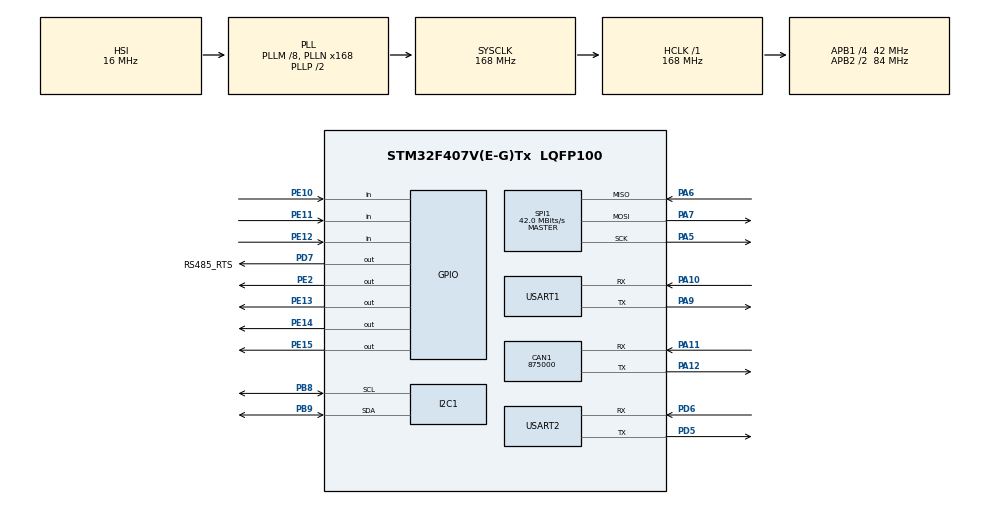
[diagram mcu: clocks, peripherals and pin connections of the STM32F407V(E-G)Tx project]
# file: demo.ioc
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CAN1.CalculateBaudRate=875000
CAN1.CalculateTimeBit=1142
CAN1.CalculateTimeQuantum=380.95238095238096
Dma.Request0=USART2_RX
Dma.Request1=USART2_TX
Dma.Request2=USART1_RX
Dma.Request3=USART1_TX
Dma.USART1_RX.2.Direction=DMA_PERIPH_TO_MEMORY
Dma.USART1_RX.2.FIFOMode=DMA_FIFOMODE_DISABLE
Dma.USART1_RX.2.Instance=DMA2_Stream2
Dma.USART1_RX.2.MemDataAlignment=DMA_MDATAALIGN_BYTE
Dma.USART1_RX.2.MemInc=DMA_MINC_ENABLE
Dma.USART1_RX.2.Mode=DMA_CIRCULAR
Dma.USART1_RX.2.PeriphDataAlignment=DMA_PDATAALIGN_BYTE
Dma.USART1_RX.2.PeriphInc=DMA_PINC_DISABLE
Dma.USART1_RX.2.Priority=DMA_PRIORITY_LOW
Dma.USART1_TX.3.Direction=DMA_MEMORY_TO_PERIPH
Dma.USART1_TX.3.FIFOMode=DMA_FIFOMODE_DISABLE
Dma.USART1_TX.3.Instance=DMA2_Stream7
Dma.USART1_TX.3.MemDataAlignment=DMA_MDATAALIGN_BYTE
Dma.USART1_TX.3.MemInc=DMA_MINC_ENABLE
Dma.USART1_TX.3.Mode=DMA_NORMAL
Dma.USART1_TX.3.PeriphDataAlignment=DMA_PDATAALIGN_BYTE
Dma.USART1_TX.3.PeriphInc=DMA_PINC_DISABLE
Dma.USART1_TX.3.Priority=DMA_PRIORITY_LOW
Dma.USART2_RX.0.Direction=DMA_PERIPH_TO_MEMORY
Dma.USART2_RX.0.FIFOMode=DMA_FIFOMODE_DISABLE
Dma.USART2_RX.0.Instance=DMA1_Stream5
Dma.USART2_RX.0.MemDataAlignment=DMA_MDATAALIGN_BYTE
Dma.USART2_RX.0.MemInc=DMA_MINC_ENABLE
Dma.USART2_RX.0.Mode=DMA_CIRCULAR
Dma.USART2_RX.0.PeriphDataAlignment=DMA_PDATAALIGN_BYTE
Dma.USART2_RX.0.PeriphInc=DMA_PINC_DISABLE
Dma.USART2_RX.0.Priority=DMA_PRIORITY_LOW
Dma.USART2_TX.1.Direction=DMA_MEMORY_TO_PERIPH
Dma.USART2_TX.1.FIFOMode=DMA_FIFOMODE_DISABLE
Dma.USART2_TX.1.Instance=DMA1_Stream6
Dma.USART2_TX.1.MemDataAlignment=DMA_MDATAALIGN_BYTE
Dma.USART2_TX.1.MemInc=DMA_MINC_ENABLE
Dma.USART2_TX.1.Mode=DMA_NORMAL
Dma.USART2_TX.1.PeriphDataAlignment=DMA_PDATAALIGN_BYTE
Dma.USART2_TX.1.PeriphInc=DMA_PINC_DISABLE
Dma.USART2_TX.1.Priority=DMA_PRIORITY_LOW
Mcu.Family=STM32F4
Mcu.Name=STM32F407V(E-G)Tx
Mcu.Package=LQFP100
NVIC.DMA1_Stream5_IRQn=true\:0\:0\:false\:false\:true\:false\:true\:true
NVIC.DMA1_Stream6_IRQn=true\:0\:0\:false\:false\:true\:false\:true\:true
NVIC.DMA2_Stream2_IRQn=true\:0\:0\:false\:false\:true\:false\:true\:true
NVIC.DMA2_Stream7_IRQn=true\:0\:0\:false\:false\:true\:false\:true\:true
NVIC.PriorityGroup=NVIC_PRIORITYGROUP_4
NVIC.TIM1_TRG_COM_TIM11_IRQn=true\:0\:0\:false\:false\:true\:true\:true\:true
NVIC.USART1_IRQn=true\:0\:0\:false\:false\:true\:true\:true\:true
NVIC.USART2_IRQn=true\:0\:0\:false\:false\:true\:true\:true\:true
PA10.Mode=Asynchronous
PA10.Signal=USART1_RX
PA11.Mode=CAN_Activate
PA11.Signal=CAN1_RX
PA12.Mode=CAN_Activate
PA12.Signal=CAN1_TX
PA13.Mode=Serial_Wire
PA13.Signal=SYS_JTMS-SWDIO
PA14.Mode=Serial_Wire
PA14.Signal=SYS_JTCK-SWCLK
PA5.Mode=Full_Duplex_Master
PA5.Signal=SPI1_SCK
PA6.Mode=Full_Duplex_Master
PA6.Signal=SPI1_MISO
PA7.Mode=Full_Duplex_Master
PA7.Signal=SPI1_MOSI
PA9.Mode=Asynchronous
PA9.Signal=USART1_TX
PB8.GPIO_Pu=GPIO_PULLUP
PB8.Mode=I2C
PB8.Signal=I2C1_SCL
PB9.GPIO_Pu=GPIO_PULLUP
PB9.Mode=I2C
PB9.Signal=I2C1_SDA
PD5.Mode=Asynchronous
PD5.Signal=USART2_TX
PD6.Mode=Asynchronous
PD6.Signal=USART2_RX
PD7.GPIO_Label=RS485_RTS
PD7.GPIO_Speed=GPIO_SPEED_FREQ_HIGH
PD7.PinState=GPIO_PIN_SET
PD7.Signal=GPIO_Output
PE10.Signal=GPIO_Input
PE11.Signal=GPIO_Input
PE12.Signal=GPIO_Input
PE13.Signal=GPIO_Output
PE14.Signal=GPIO_Output
PE15.Signal=GPIO_Output
PE2.Signal=GPIO_Output
PH0-OSC_IN.Mode=HSE-External-Oscillator
PH0-OSC_IN.Signal=RCC_OSC_IN
PH1-OSC_OUT.Mode=HSE-External-Oscillator
PH1-OSC_OUT.Signal=RCC_OSC_OUT
ProjectManager.HeapSize=0x2000
ProjectManager.StackSize=0x2000
ProjectManager.TargetToolchain=MDK-ARM V5
RCC.48MHZClocksFreq_Value=84000000
RCC.AHBFreq_Value=168000000
RCC.APB1CLKDivider=RCC_HCLK_DIV4
RCC.APB1Freq_Value=42000000
RCC.APB1TimFreq_Value=84000000
RCC.APB2CLKDivider=RCC_HCLK_DIV2
RCC.APB2Freq_Value=84000000
RCC.APB2TimFreq_Value=168000000
RCC.CortexFreq_Value=168000000
RCC.HCLKFreq_Value=168000000
RCC.HSE_VALUE=25000000
RCC.HSI_VALUE=16000000
RCC.LSE_VALUE=32768
RCC.PLLM=8
RCC.PLLN=168
RCC.SYSCLKFreq_VALUE=168000000
RCC.SYSCLKSource=RCC_SYSCLKSOURCE_PLLCLK
RCC.VCOOutputFreq_Value=336000000
SPI1.CalculateBaudRate=42.0 MBits/s
SPI1.Direction=SPI_DIRECTION_2LINES
SPI1.Mode=SPI_MODE_MASTER
SPI1.VirtualType=VM_MASTER
TIM11.AutoReloadPreload=TIM_AUTORELOAD_PRELOAD_ENABLE
TIM11.Period=14000-1
TIM11.Prescaler=12-1
USART1.VirtualMode=VM_ASYNC
USART2.VirtualMode=VM_ASYNC
VP_TIM11_VS_ClockSourceINT.Mode=Enable_Timer
board=custom

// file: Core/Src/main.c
/* USER CODE BEGIN Header */
/**
 ******************************************************************************
 * @file           : main.c
 * @brief          : Main program body
 ******************************************************************************
 * @attention
 *
 * Copyright (c) 2023 STMicroelectronics.
 * All rights reserved.
 *
 * This software is licensed under terms that can be found in the LICENSE file
 * in the root directory of this software component.
 * If no LICENSE file comes with this software, it is provided AS-IS.
 *
 ******************************************************************************
 */
/* USER CODE END Header */
#include "main.h"

CAN_HandleTypeDef hcan1;

I2C_HandleTypeDef hi2c1;

SPI_HandleTypeDef hspi1;

TIM_HandleTypeDef htim11;

UART_HandleTypeDef huart1;
UART_HandleTypeDef huart2;
DMA_HandleTypeDef hdma_usart1_rx;
DMA_HandleTypeDef hdma_usart1_tx;
DMA_HandleTypeDef hdma_usart2_rx;
DMA_HandleTypeDef hdma_usart2_tx;

/* USER CODE BEGIN PV */
static uint16_t a = 0, b = 0;
/* USER CODE END PV */

void SystemClock_Config(void);
static void MX_GPIO_Init(void);
static void MX_DMA_Init(void);
static void MX_TIM11_Init(void);
static void MX_CAN1_Init(void);
static void MX_I2C1_Init(void);
static void MX_USART1_UART_Init(void);
static void MX_USART2_UART_Init(void);
static void MX_SPI1_Init(void);
/* USER CODE BEGIN PFP */
void HAL_TIM_PeriodElapsedCallback(TIM_HandleTypeDef* htim)
{
}
/* USER CODE END PFP */

int main(void)
{

  /* MCU Configuration--------------------------------------------------------*/

  /* Reset of all peripherals, Initializes the Flash interface and the Systick. */
  HAL_Init();

  /* Configure the system clock */
  SystemClock_Config();

  /* USER CODE BEGIN SysInit */
    __HAL_RCC_GPIOA_CLK_ENABLE();
    __HAL_RCC_GPIOB_CLK_ENABLE();
    __HAL_RCC_GPIOC_CLK_ENABLE();
    __HAL_RCC_GPIOD_CLK_ENABLE();
    __HAL_RCC_GPIOE_CLK_ENABLE();
  /* USER CODE END SysInit */

  /* Initialize all configured peripherals */
  MX_GPIO_Init();
  MX_DMA_Init();
  MX_TIM11_Init();
  MX_CAN1_Init();
  MX_I2C1_Init();
  MX_USART1_UART_Init();
  MX_USART2_UART_Init();
  MX_SPI1_Init();

  /* Infinite loop */
  /* USER CODE BEGIN WHILE */

#if !FMSTR_DISABLE
    FMSTR_Init();
#endif

    while (1)
    {
#if !FMSTR_DISABLE
        FMSTR_Poll();
        FMSTR_Recorder();
#endif

        a += 2;
        b += 1;

    /* USER CODE END WHILE */

    }
}

void SystemClock_Config(void)
{
  RCC_OscInitTypeDef RCC_OscInitStruct = {0};
  RCC_ClkInitTypeDef RCC_ClkInitStruct = {0};

  /** Configure the main internal regulator output voltage
  */
  __HAL_RCC_PWR_CLK_ENABLE();
  __HAL_PWR_VOLTAGESCALING_CONFIG(PWR_REGULATOR_VOLTAGE_SCALE1);

  /** Initializes the RCC Oscillators according to the specified parameters
  * in the RCC_OscInitTypeDef structure.
  */
  RCC_OscInitStruct.OscillatorType = RCC_OSCILLATORTYPE_HSI;
  RCC_OscInitStruct.HSIState = RCC_HSI_ON;
  RCC_OscInitStruct.HSICalibrationValue = RCC_HSICALIBRATION_DEFAULT;
  RCC_OscInitStruct.PLL.PLLState = RCC_PLL_ON;
  RCC_OscInitStruct.PLL.PLLSource = RCC_PLLSOURCE_HSI;
  RCC_OscInitStruct.PLL.PLLM = 8;
  RCC_OscInitStruct.PLL.PLLN = 168;
  RCC_OscInitStruct.PLL.PLLP = RCC_PLLP_DIV2;
  RCC_OscInitStruct.PLL.PLLQ = 4;
  if (HAL_RCC_OscConfig(&RCC_OscInitStruct) != HAL_OK)
  {
    Error_Handler();
  }

  /** Initializes the CPU, AHB and APB buses clocks
  */
  RCC_ClkInitStruct.ClockType = RCC_CLOCKTYPE_HCLK|RCC_CLOCKTYPE_SYSCLK
                              |RCC_CLOCKTYPE_PCLK1|RCC_CLOCKTYPE_PCLK2;
  RCC_ClkInitStruct.SYSCLKSource = RCC_SYSCLKSOURCE_PLLCLK;
  RCC_ClkInitStruct.AHBCLKDivider = RCC_SYSCLK_DIV1;
  RCC_ClkInitStruct.APB1CLKDivider = RCC_HCLK_DIV4;
  RCC_ClkInitStruct.APB2CLKDivider = RCC_HCLK_DIV2;

  if (HAL_RCC_ClockConfig(&RCC_ClkInitStruct, FLASH_LATENCY_5) != HAL_OK)
  {
    Error_Handler();
  }
}

static void MX_CAN1_Init(void)
{

  hcan1.Instance = CAN1;
  hcan1.Init.Prescaler = 16;
  hcan1.Init.Mode = CAN_MODE_NORMAL;
  hcan1.Init.SyncJumpWidth = CAN_SJW_1TQ;
  hcan1.Init.TimeSeg1 = CAN_BS1_1TQ;
  hcan1.Init.TimeSeg2 = CAN_BS2_1TQ;
  hcan1.Init.TimeTriggeredMode = DISABLE;
  hcan1.Init.AutoBusOff = DISABLE;
  hcan1.Init.AutoWakeUp = DISABLE;
  hcan1.Init.AutoRetransmission = DISABLE;
  hcan1.Init.ReceiveFifoLocked = DISABLE;
  hcan1.Init.TransmitFifoPriority = DISABLE;
  if (HAL_CAN_Init(&hcan1) != HAL_OK)
  {
    Error_Handler();
  }

}

static void MX_I2C1_Init(void)
{

  hi2c1.Instance = I2C1;
  hi2c1.Init.ClockSpeed = 100000;
  hi2c1.Init.DutyCycle = I2C_DUTYCYCLE_2;
  hi2c1.Init.OwnAddress1 = 0;
  hi2c1.Init.AddressingMode = I2C_ADDRESSINGMODE_7BIT;
  hi2c1.Init.DualAddressMode = I2C_DUALADDRESS_DISABLE;
  hi2c1.Init.OwnAddress2 = 0;
  hi2c1.Init.GeneralCallMode = I2C_GENERALCALL_DISABLE;
  hi2c1.Init.NoStretchMode = I2C_NOSTRETCH_DISABLE;
  if (HAL_I2C_Init(&hi2c1) != HAL_OK)
  {
    Error_Handler();
  }

}

static void MX_SPI1_Init(void)
{

  /* SPI1 parameter configuration*/
  hspi1.Instance = SPI1;
  hspi1.Init.Mode = SPI_MODE_MASTER;
  hspi1.Init.Direction = SPI_DIRECTION_2LINES;
  hspi1.Init.DataSize = SPI_DATASIZE_8BIT;
  hspi1.Init.CLKPolarity = SPI_POLARITY_LOW;
  hspi1.Init.CLKPhase = SPI_PHASE_1EDGE;
  hspi1.Init.NSS = SPI_NSS_SOFT;
  hspi1.Init.BaudRatePrescaler = SPI_BAUDRATEPRESCALER_2;
  hspi1.Init.FirstBit = SPI_FIRSTBIT_MSB;
  hspi1.Init.TIMode = SPI_TIMODE_DISABLE;
  hspi1.Init.CRCCalculation = SPI_CRCCALCULATION_DISABLE;
  hspi1.Init.CRCPolynomial = 10;
  if (HAL_SPI_Init(&hspi1) != HAL_OK)
  {
    Error_Handler();
  }

}

static void MX_TIM11_Init(void)
{

  htim11.Instance = TIM11;
  htim11.Init.Prescaler = 12-1;
  htim11.Init.CounterMode = TIM_COUNTERMODE_UP;
  htim11.Init.Period = 14000-1;
  htim11.Init.ClockDivision = TIM_CLOCKDIVISION_DIV1;
  htim11.Init.AutoReloadPreload = TIM_AUTORELOAD_PRELOAD_ENABLE;
  if (HAL_TIM_Base_Init(&htim11) != HAL_OK)
  {
    Error_Handler();
  }

}

static void MX_USART1_UART_Init(void)
{

  huart1.Instance = USART1;
  huart1.Init.BaudRate = 115200;
  huart1.Init.WordLength = UART_WORDLENGTH_8B;
  huart1.Init.StopBits = UART_STOPBITS_1;
  huart1.Init.Parity = UART_PARITY_NONE;
  huart1.Init.Mode = UART_MODE_TX_RX;
  huart1.Init.HwFlowCtl = UART_HWCONTROL_NONE;
  huart1.Init.OverSampling = UART_OVERSAMPLING_16;
  if (HAL_UART_Init(&huart1) != HAL_OK)
  {
    Error_Handler();
  }

}

static void MX_USART2_UART_Init(void)
{

  huart2.Instance = USART2;
  huart2.Init.BaudRate = 115200;
  huart2.Init.WordLength = UART_WORDLENGTH_8B;
  huart2.Init.StopBits = UART_STOPBITS_1;
  huart2.Init.Parity = UART_PARITY_NONE;
  huart2.Init.Mode = UART_MODE_TX_RX;
  huart2.Init.HwFlowCtl = UART_HWCONTROL_NONE;
  huart2.Init.OverSampling = UART_OVERSAMPLING_16;
  if (HAL_UART_Init(&huart2) != HAL_OK)
  {
    Error_Handler();
  }

}

static void MX_DMA_Init(void)
{

  /* DMA controller clock enable */
  __HAL_RCC_DMA1_CLK_ENABLE();
  __HAL_RCC_DMA2_CLK_ENABLE();

  /* DMA interrupt init */
  /* DMA1_Stream5_IRQn interrupt configuration */
  HAL_NVIC_SetPriority(DMA1_Stream5_IRQn, 0, 0);
  HAL_NVIC_EnableIRQ(DMA1_Stream5_IRQn);
  /* DMA1_Stream6_IRQn interrupt configuration */
  HAL_NVIC_SetPriority(DMA1_Stream6_IRQn, 0, 0);
  HAL_NVIC_EnableIRQ(DMA1_Stream6_IRQn);
  /* DMA2_Stream2_IRQn interrupt configuration */
  HAL_NVIC_SetPriority(DMA2_Stream2_IRQn, 0, 0);
  HAL_NVIC_EnableIRQ(DMA2_Stream2_IRQn);
  /* DMA2_Stream7_IRQn interrupt configuration */
  HAL_NVIC_SetPriority(DMA2_Stream7_IRQn, 0, 0);
  HAL_NVIC_EnableIRQ(DMA2_Stream7_IRQn);

}

static void MX_GPIO_Init(void)
{
  GPIO_InitTypeDef GPIO_InitStruct = {0};

  /* GPIO Ports Clock Enable */
  __HAL_RCC_GPIOE_CLK_ENABLE();
  __HAL_RCC_GPIOH_CLK_ENABLE();
  __HAL_RCC_GPIOA_CLK_ENABLE();
  __HAL_RCC_GPIOD_CLK_ENABLE();
  __HAL_RCC_GPIOB_CLK_ENABLE();

  /*Configure GPIO pin Output Level */
  HAL_GPIO_WritePin(GPIOE, GPIO_PIN_2|GPIO_PIN_13|GPIO_PIN_14|GPIO_PIN_15, GPIO_PIN_RESET);

  /*Configure GPIO pin Output Level */
  HAL_GPIO_WritePin(RS485_RTS_GPIO_Port, RS485_RTS_Pin, GPIO_PIN_SET);

  /*Configure GPIO pins : PE2 PE13 PE14 PE15 */
  GPIO_InitStruct.Pin = GPIO_PIN_2|GPIO_PIN_13|GPIO_PIN_14|GPIO_PIN_15;
  GPIO_InitStruct.Mode = GPIO_MODE_OUTPUT_PP;
  GPIO_InitStruct.Pull = GPIO_NOPULL;
  GPIO_InitStruct.Speed = GPIO_SPEED_FREQ_LOW;
  HAL_GPIO_Init(GPIOE, &GPIO_InitStruct);

  /*Configure GPIO pins : PE10 PE11 PE12 */
  GPIO_InitStruct.Pin = GPIO_PIN_10|GPIO_PIN_11|GPIO_PIN_12;
  GPIO_InitStruct.Mode = GPIO_MODE_INPUT;
  GPIO_InitStruct.Pull = GPIO_NOPULL;
  HAL_GPIO_Init(GPIOE, &GPIO_InitStruct);

  /*Configure GPIO pin : RS485_RTS_Pin */
  GPIO_InitStruct.Pin = RS485_RTS_Pin;
  GPIO_InitStruct.Mode = GPIO_MODE_OUTPUT_PP;
  GPIO_InitStruct.Pull = GPIO_NOPULL;
  GPIO_InitStruct.Speed = GPIO_SPEED_FREQ_HIGH;
  HAL_GPIO_Init(RS485_RTS_GPIO_Port, &GPIO_InitStruct);

}

void Error_Handler(void)
{
    __disable_irq();
    while (1)
    {
    }
}

#ifdef  USE_FULL_ASSERT
/**
  * @brief  Reports the name of the source file and the source line number
  *         where the assert_param error has occurred.
  * @param  file: pointer to the source file name
  * @param  line: assert_param error line source number
  * @retval None
  */
void assert_failed(uint8_t *file, uint32_t line)
{
  /* USER CODE BEGIN 6 */
    /* User can add his own implementation to report the file name and line number,
       ex: PRINTF("Wrong parameters value: file %s on line %d\r\n", file, line) */
  /* USER CODE END 6 */
}
#endif /* USE_FULL_ASSERT */
